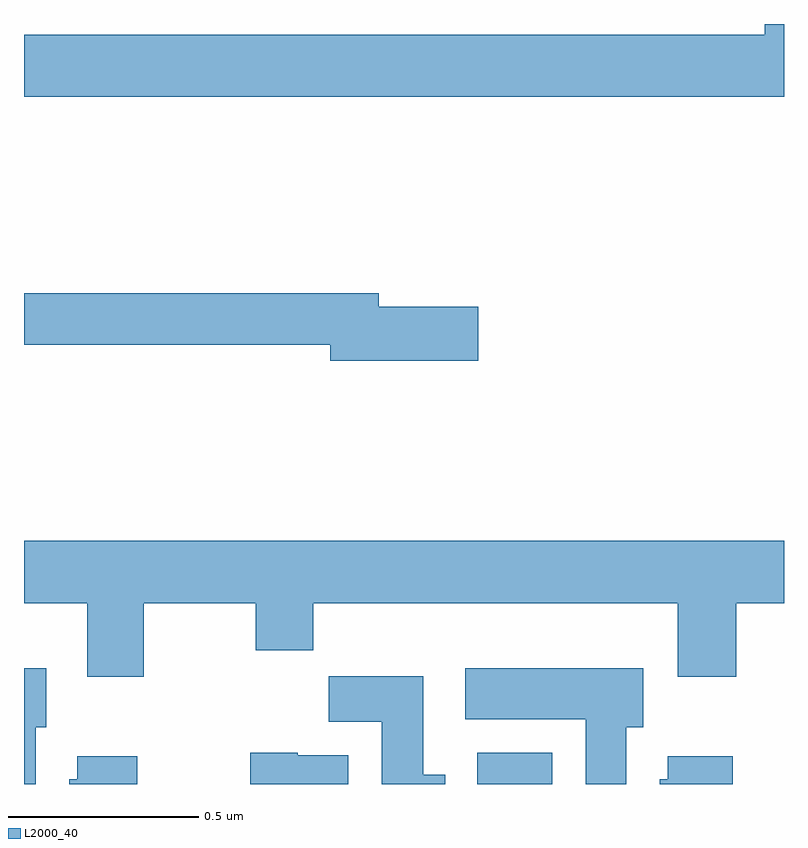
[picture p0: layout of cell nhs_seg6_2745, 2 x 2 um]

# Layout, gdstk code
import gdstk
lib = gdstk.Library(unit=1e-6, precision=1e-09)
def R(c, l, rs):  # rectangles x0, y0, x1, y1
    for r in rs: c.add(gdstk.rectangle(r[:2], r[2:], *l))
def P(c, l, *ps):  # polygons
    for p in ps: c.add(gdstk.Polygon(p, *l))
L2000_40 = (2000, 40)

nhs_seg6_2745 = lib.new_cell('nhs_seg6_2745')
R(nhs_seg6_2745, L2000_40, [(148.193,973.5,148.39,973.582)])
P(nhs_seg6_2745, L2000_40, [(149,975.5),(148.949,975.5),(148.949,975.472),(147,975.472),(147,975.308),(149,975.308)],
  [(148.195,974.756),(147.934,974.756),(147.934,974.792),(147,974.792),(147,974.656),(147.806,974.656),(147.806,974.614),(148.195,974.614)],
  [(147.315,973.976),(147.61,973.976),(147.61,973.852),(147.761,973.852),(147.761,973.976),(148.721,973.976),(148.721,973.782),(148.874,973.782),(148.874,973.976),(149,973.976),(149,974.14),(147,974.14),(147,973.976),(147.167,973.976),(147.167,973.782),(147.315,973.782)],
  [(147.031,973.65),(147.058,973.65),(147.058,973.804),(147,973.804),(147,973.5),(147.031,973.5)],
  [(148.585,973.65),(148.63,973.65),(148.63,973.804),(148.161,973.804),(148.161,973.67),(148.478,973.67),(148.478,973.5),(148.585,973.5)],
  [(148.108,973.524),(148.051,973.524),(148.051,973.783),(147.802,973.783),(147.802,973.664),(147.941,973.664),(147.941,973.5),(148.108,973.5)],
  [(147.853,973.576),(147.72,973.576),(147.72,973.582),(147.595,973.582),(147.595,973.5),(147.853,973.5)],
  [(148.865,973.573),(148.694,973.573),(148.694,973.512),(148.673,973.512),(148.673,973.5),(148.865,973.5)],
  [(147.298,973.573),(147.14,973.573),(147.14,973.512),(147.119,973.512),(147.119,973.5),(147.298,973.5)])

lib.write_gds('nhs_seg6_2745.gds')
